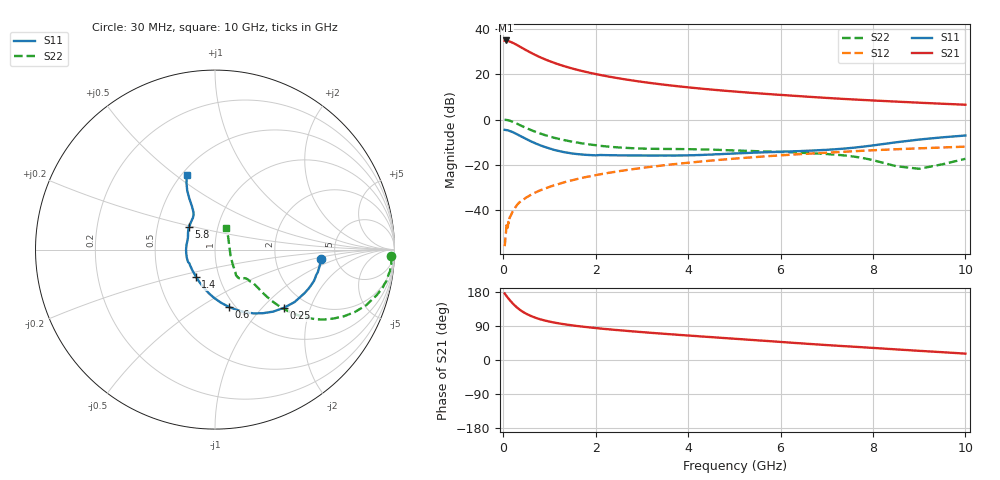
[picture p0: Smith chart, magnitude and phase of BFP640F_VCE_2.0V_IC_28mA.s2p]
! Infineon Technologies  Discrete & RF Semiconductors
! BFP640F
! VCE =  2.0 V,  IC =  28 mA
! Common Emitter S-Parameters:  Apr 2013
# GHz  S  MA  R  50
!  f  S11  S21  S12  S22
! GHz  MAG  ANG  MAG  ANG  MAG  ANG  MAG  ANG
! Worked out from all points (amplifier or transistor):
!   99 points, 30 MHz to 10 GHz, reference 50 ohm
!   highest |S21| = 34.9 dB at 50 MHz (marker M1)
!   |S21| within 3 dB of that: start of sweep to 384.3 MHz
!   unconditionally stable (mu >= 1): 1.871 GHz to end of sweep
!   at 350 MHz: K = 0.46, MSG = 34.5 dB, |S12| = -36.6 dB
!   at 3.5 GHz: K = 1.05, MAG = 16.3 dB, |S12| = -20.1 dB
!   at 10 GHz: K = 1.04, MAG = 8.0 dB, |S12| = -12.0 dB
!   S11 on the Smith chart (normalised r, x): 30 MHz: 3.80, -0.64; 250 MHz: 1.53, -1.33; 600 MHz: 0.94, -0.67; 1.4 GHz: 0.77, -0.24; 5.8 GHz: 0.73, +0.19; 10 GHz: 0.53, +0.55
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0.03  0.5929 -5.3  55.49 175.6  0.0016 116.2  0.9803 -2.1
0.05  0.59 -8.8  55.86 172.4  0.0027 112.8  0.9854 -4.6
0.09  0.5803 -15.7  54.83 165.8  0.0042 85.3  0.974 -9.3
0.15  0.5549 -25.9  52.47 156.8  0.0071 80.3  0.9366 -15.7
0.2  0.531 -33.4  49.9 150.0  0.0091 78.4  0.8974 -20.2
0.25  0.5017 -40.4  47.09 143.9  0.011 77.9  0.8528 -24.1
0.3  0.4734 -46.9  44.25 138.3  0.0131 76.4  0.8081 -27.4
0.4  0.4179 -58.3  38.74 129.1  0.0161 72.2  0.7226 -32.6
0.5  0.371 -67.6  33.9 121.9  0.019 71.9  0.6497 -36.0
0.6  0.3301 -76.1  29.89 116.1  0.0218 71.3  0.5877 -38.4
0.7  0.2976 -83.6  26.55 111.4  0.0246 71.2  0.5355 -40.0
0.9  0.2484 -97.1  21.49 104.2  0.0299 71.0  0.4553 -41.7
1.1  0.2144 -109.2  17.93 98.8  0.0353 70.5  0.3973 -42.2
1.4  0.185 -125.2  14.29 92.9  0.0435 69.9  0.3388 -42.0
1.7  0.1694 -139.5  11.86 88.3  0.0514 68.9  0.299 -41.3
2.4  0.1631 -165.0  8.476 79.7  0.0696 66.6  0.2464 -42.4
3.4  0.1609 170.4  6.027 69.9  0.0958 62.1  0.2246 -45.6
5.1  0.1799 146.4  4.089 55.3  0.1396 53.2  0.2068 -50.2
5.8  0.1918 139.3  3.624 49.4  0.1572 49.2  0.1958 -50.7
6.7  0.2071 128.8  3.145 41.8  0.1786 43.9  0.1797 -50.0
8.5  0.3147 116.8  2.494 28.0  0.2211 33.3  0.0934 -21.7
10  0.4444 110.6  2.127 16.8  0.2525 24.5  0.1359 64.2
